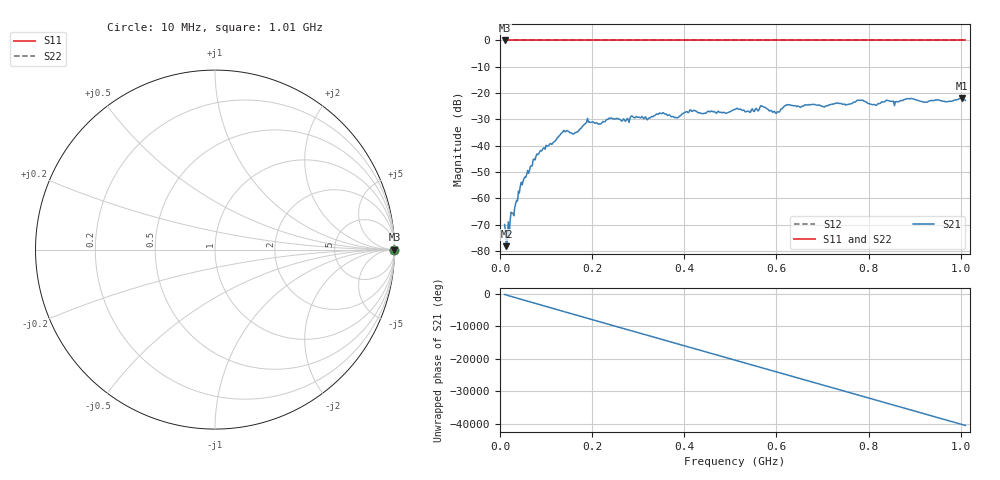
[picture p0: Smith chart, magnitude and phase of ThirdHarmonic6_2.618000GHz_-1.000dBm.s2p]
! 8/17/2025 5:46:38 AM
! C:\ANRITSUVNA\TEMP\TEMP.S2P
! CHANNEL.1
! TR.MEASUREMENT
! RAW.DATA
! RF.CORRECTION.OFF
! AVERAGING.OFF
! IF.BANDWIDTH: 5KHZ
! SWEEPTYPE:  FREQ.SWEEP(Linear)
! Reference Plane Port Info
! PORT:  PORT1  PORT2
! DISTANCE:  0  m  0  m
! TIME:  0  s  0  s
! PHASE.OFFSET:  0  deg.  0  deg.
! LOSS:  0  dB  0  dB
! REF.LOSS:  0  dB  0  dB
! REF.FREQ:  0  Hz  0  Hz
! Power Info
! POWER:  -20  dBm  -20  dBm
! EFF.POWER:  -20  dBm  -20  dBm
! SOURCE.ATTEN:  0  dB  0  dB
! TEST.ATTEN:  0  dB  0  dB
# GHZ S RI R 50.0
! FREQ.GHZ  S11RE  S11IM  S21RE  S21IM  S12RE  S12IM  S22RE  S22IM
!; PortSelection: Port_12
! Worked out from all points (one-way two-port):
!   501 points, 10 MHz to 1.01 GHz, reference 50 ohm
!   highest |S21| = -21.85 dB at 1.002 GHz (marker M1); lowest = -78.2 dB at 14 MHz (marker M2)
!   lowest |S11| = 0.0 dB at 10 MHz (marker M3)
!   |S11| at or under -10 dB: nowhere
!   |S22| runs from 0.0 to 0.0 dB; largest |S21 - S12| = 1.1
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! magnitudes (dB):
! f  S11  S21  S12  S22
! 10 MHz  0.0  -69.9  0.0  0.0
! 14 MHz  0.0  -78.2  0.0  0.0
! 18 MHz  0.0  -68.9  0.0  0.0
! 22 MHz  0.0  -68.4  0.0  0.0
! 48 MHz  0.0  -54.9  0.0  0.0
! 76 MHz  0.0  -45.4  0.0  0.0
! 136 MHz  0.0  -34.8  0.0  0.0
! 162 MHz  0.0  -35.3  0.0  0.0
! 178 MHz  0.0  -32.8  0.0  0.0
! 192 MHz  0.0  -31.0  0.0  0.0
! 322 MHz  0.0  -29.7  0.0  0.0
! 344 MHz  0.0  -28.0  0.0  0.0
! 382 MHz  0.0  -29.2  0.0  0.0
! 416 MHz  0.0  -27.0  0.0  0.0
! 510 MHz  0.0  -26.2  0.0  0.0
! 570 MHz  0.0  -25.0  0.0  0.0
! 602 MHz  0.0  -27.1  0.0  0.0
! 622 MHz  0.0  -24.4  0.0  0.0
! 678 MHz  0.0  -24.3  0.0  0.0
! 844 MHz  0.0  -23.0  0.0  0.0
! 1.002 GHz  0.0  -21.8  0.0  0.0
! 1.01 GHz  0.0  -22.8  0.0  0.0
